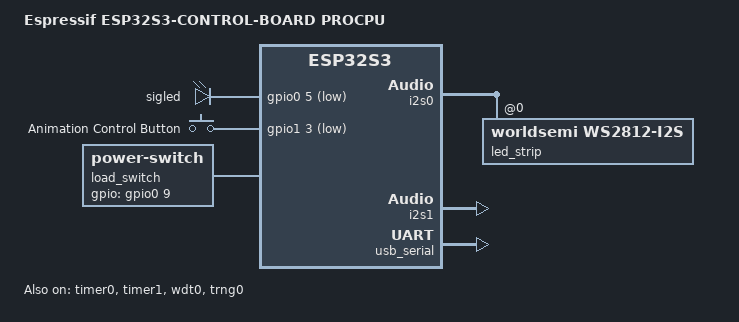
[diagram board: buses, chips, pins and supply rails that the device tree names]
/*
 * Copyright (c) 2024 Espressif Systems (Shanghai) Co., Ltd.
 *
 * SPDX-License-Identifier: Apache-2.0
 */
/dts-v1/;

#include "espressif/esp32s3/esp32s3_wroom_n8r8.dtsi"
#include "esp32s3_control_board-pinctrl.dtsi"
#include <zephyr/dt-bindings/led/led.h>
#include <espressif/partitions_0x0_amp.dtsi>

/ {
	model = "Espressif ESP32S3-CONTROL-BOARD PROCPU";
	compatible = "espressif,esp32s3";

//	zephyr,user {
//		io-channels = <&adc0 0>;
//	};

	aliases {
		led-strip = &led_strip;
		ctrl-btn = &button1;
	};

	chosen {
		zephyr,sram = &sram1;
		zephyr,console = &usb_serial;
		zephyr,flash = &flash0;
		zephyr,code-partition = &slot0_partition;
	};


	leds {
		compatible = "gpio-leds";
		sigled: sig_led {
			gpios = <&gpio0 5 GPIO_ACTIVE_LOW>;
		};
	};

	buttons {
		compatible = "gpio-keys";
		button1: button_1 {
			gpios = < &gpio1 3 (GPIO_PULL_UP | GPIO_ACTIVE_LOW) >;
			label = "Animation Control Button";
		};
	};

	load_switch: load_switch {
		compatible = "power-switch";
		gpios = <&gpio0 9 GPIO_ACTIVE_HIGH>;
	};
};

//&adc0 {
//	status = "okay";
//	#address-cells = <1>;
//	#size-cells = <0>;
//
//	channel@0 {
//		reg = <0>;
//		zephyr,gain = "ADC_GAIN_1_4";
//		zephyr,reference = "ADC_REF_INTERNAL";
//		zephyr,acquisition-time = <ADC_ACQ_TIME_DEFAULT>;
//		zephyr,resolution = <12>;
//	};
//};

&i2s0 {
	status = "okay";
	pinctrl-0 = <&i2s0_default>;
	pinctrl-names = "default";

	dmas = <&dma 3>;
	dma-names = "tx";

	led_strip: ws2812@0 {
		compatible = "worldsemi,ws2812-i2s";

		reg = <0>;
		chain-length = <36>;
		lrck-period = <7>;
		color-mapping = <LED_COLOR_ID_GREEN
						 LED_COLOR_ID_RED
						 LED_COLOR_ID_BLUE>;
	};
};

&i2s1 {
	status = "okay";
	pinctrl-0 = <&i2s1_default>;
	pinctrl-names = "default";

	dmas = <&dma 4>;
	dma-names = "rx";
};

&dma {
	status = "okay";
};

&usb_serial {
	status = "okay";
};

&timer0 {
	status = "okay";
};

&timer1 {
	status = "okay";
};

&gpio0 {
	status = "okay";
};

&gpio1 {
	status = "okay";
};

&wdt0 {
	status = "okay";
};

&trng0 {
	status = "okay";
};
